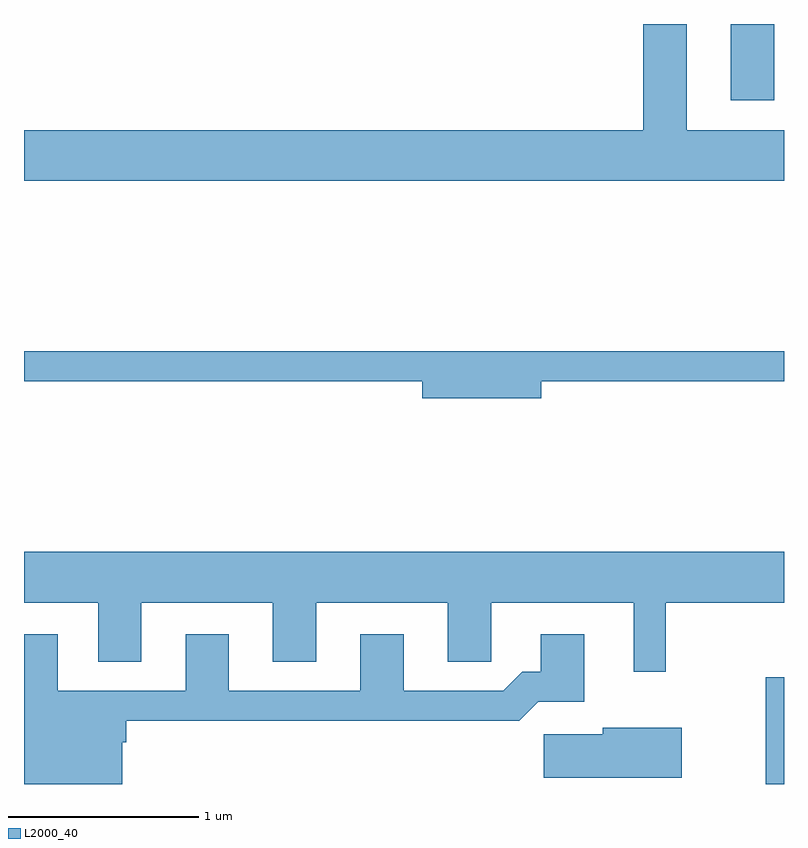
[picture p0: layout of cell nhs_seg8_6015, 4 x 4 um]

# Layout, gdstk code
import gdstk
lib = gdstk.Library(unit=1e-6, precision=1e-09)
def R(c, l, rs):  # rectangles x0, y0, x1, y1
    for r in rs: c.add(gdstk.rectangle(r[:2], r[2:], *l))
def P(c, l, *ps):  # polygons
    for p in ps: c.add(gdstk.Polygon(p, *l))
L2000_40 = (2000, 40)

nhs_seg8_6015 = lib.new_cell('nhs_seg8_6015')
R(nhs_seg8_6015, L2000_40, [(369.516,1844.342,369.611,1844.904), (369.331,1847.941,369.559,1848.342)])
P(nhs_seg8_6015, L2000_40, [(369.611,1847.784),(369.099,1847.784),(369.099,1848.342),(368.871,1848.342),(368.871,1847.784),(365.611,1847.784),(365.611,1847.516),(369.611,1847.516)],
  [(368.334,1846.461),(369.611,1846.461),(369.611,1846.619),(365.611,1846.619),(365.611,1846.461),(367.706,1846.461),(367.706,1846.371),(368.334,1846.371)],
  [(368.989,1845.296),(369.611,1845.296),(369.611,1845.564),(365.611,1845.564),(365.611,1845.296),(366.001,1845.296),(366.001,1844.986),(366.229,1844.986),(366.229,1845.296),(366.921,1845.296),(366.921,1844.986),(367.149,1844.986),(367.149,1845.296),(367.841,1845.296),(367.841,1844.986),(368.069,1844.986),(368.069,1845.296),(368.821,1845.296),(368.821,1844.933),(368.989,1844.933)],
  [(366.129,1844.561),(366.149,1844.561),(366.149,1844.676),(368.217,1844.676),(368.317,1844.776),(368.559,1844.776),(368.559,1845.129),(368.331,1845.129),(368.331,1844.934),(368.234,1844.934),(368.134,1844.834),(367.609,1844.834),(367.609,1845.129),(367.381,1845.129),(367.381,1844.834),(366.689,1844.834),(366.689,1845.129),(366.461,1845.129),(366.461,1844.834),(365.789,1844.834),(365.789,1845.129),(365.611,1845.129),(365.611,1844.342),(366.129,1844.342)],
  [(369.074,1844.639),(368.656,1844.639),(368.656,1844.604),(368.346,1844.604),(368.346,1844.376),(369.074,1844.376)])

lib.write_gds('nhs_seg8_6015.gds')
